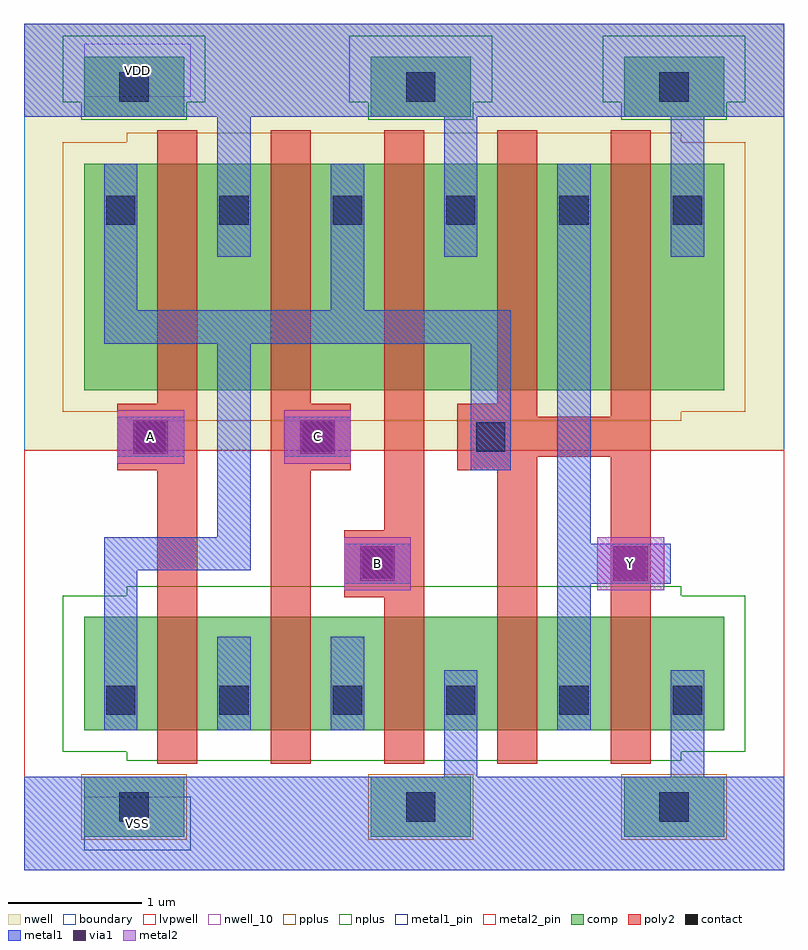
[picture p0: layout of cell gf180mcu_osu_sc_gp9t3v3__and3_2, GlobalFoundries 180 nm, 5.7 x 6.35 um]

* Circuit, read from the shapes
.subckt gf180mcu_osu_sc_gp9t3v3__and3_2 A B C VDD VSS Y
XM1 n1 A n2 VSS nfet_03v3 w=0.85u l=0.3u
XM2 n3 C n1 VSS nfet_03v3 w=0.85u l=0.3u
XM3 VSS B n3 VSS nfet_03v3 w=0.85u l=0.3u
XM4 Y n2 VSS VSS nfet_03v3 w=0.85u l=0.3u m=2
XM5 VDD A n2 VDD pfet_03v3 w=1.7u l=0.3u
XM6 n2 C VDD VDD pfet_03v3 w=1.7u l=0.3u
XM7 VDD B n2 VDD pfet_03v3 w=1.7u l=0.3u
XM8 Y n2 VDD VDD pfet_03v3 w=1.7u l=0.3u m=2
.ends

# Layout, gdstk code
import gdstk
lib = gdstk.Library(unit=1e-6, precision=1e-09)
def R(c, l, rs):  # rectangles x0, y0, x1, y1
    for r in rs: c.add(gdstk.rectangle(r[:2], r[2:], *l))
def A(c, l, x, y, w, h, nx, ny, dx, dy):  # array of equal rectangles
    R(c, l, [(x+i*dx, y+j*dy, x+i*dx+w, y+j*dy+h) for i in range(nx) for j in range(ny)])
boundary = (0, 0)
nwell = (21, 0)
nwell_10 = (21, 10)
comp = (22, 0)
poly2 = (30, 0)
pplus = (31, 0)
nplus = (32, 0)
contact = (33, 0)
metal1 = (34, 0)
metal1_pin = (34, 10)
via1 = (35, 0)
metal2 = (36, 0)
metal2_pin = (36, 10)
lvpwell = (204, 0)

gf180mcu_osu_sc_gp9t3v3_ = lib.new_cell('gf180mcu_osu_sc_gp9t3v3__and3_2')
R(gf180mcu_osu_sc_gp9t3v3_, boundary, [(0,0,5.7,6.35)])
R(gf180mcu_osu_sc_gp9t3v3_, nwell, [(0,3.15,5.7,6.35)])
R(gf180mcu_osu_sc_gp9t3v3_, nwell_10, [(0.45,5.8,1.25,6.2)])
R(gf180mcu_osu_sc_gp9t3v3_, comp, [(0.45,0.25,1.2,0.7), (2.6,0.25,3.35,0.7), (4.5,0.25,5.25,0.7), (0.45,1.05,5.25,1.9), (0.45,3.6,5.25,5.3), (0.45,5.65,1.2,6.1), (2.6,5.65,3.35,6.1), (4.5,5.65,5.25,6.1)])
R(gf180mcu_osu_sc_gp9t3v3_, poly2, [(1,0.8,1.3,3), (1.85,0.8,2.15,3), (2.7,0.8,3,2.05), (3.55,0.8,3.85,3), (4.4,0.8,4.7,3.1), (2.4,2.05,3,2.55), (2.7,2.55,3,5.55), (0.7,3,1.3,3.5), (1.85,3,2.45,3.5), (3.25,3,3.85,3.1), (3.25,3.1,4.7,3.4), (3.25,3.4,3.85,3.5), (4.4,3.4,4.7,5.55), (1,3.5,1.3,5.55), (1.85,3.5,2.15,5.55), (3.55,3.5,3.85,5.55)])
R(gf180mcu_osu_sc_gp9t3v3_, pplus, [(0.43,0.23,1.22,0.72), (2.58,0.23,3.37,0.72), (4.48,0.23,5.27,0.72), (0.77,3.37,4.93,3.44), (0.29,3.44,5.41,5.46), (0.77,5.46,4.93,5.53)])
R(gf180mcu_osu_sc_gp9t3v3_, nplus, [(0.77,0.82,4.93,0.89), (0.29,0.89,5.41,2.06), (0.77,2.06,4.93,2.13), (0.43,5.63,1.22,5.76), (2.58,5.63,3.37,5.76), (4.48,5.63,5.27,5.76), (0.29,5.76,1.36,6.26), (2.44,5.76,3.51,6.26), (4.34,5.76,5.41,6.26)])
A(gf180mcu_osu_sc_gp9t3v3_, contact, 0.615, 1.165, 0.22, 0.22, 6, 2, 0.85, 3.675)
R(gf180mcu_osu_sc_gp9t3v3_, contact, [(0.715,0.365,0.935,0.585), (2.865,0.365,3.085,0.585), (4.765,0.365,4.985,0.585), (2.54,2.19,2.76,2.41), (0.84,3.14,1.06,3.36), (2.09,3.14,2.31,3.36), (3.39,3.14,3.61,3.36), (0.715,5.765,0.935,5.985), (2.865,5.765,3.085,5.985), (4.765,5.765,4.985,5.985)])
A(gf180mcu_osu_sc_gp9t3v3_, metal1, 1.45, 4.6, 0.25, 1.05, 3, 1, 1.7, 0)
R(gf180mcu_osu_sc_gp9t3v3_, metal1, [(0,0,5.7,0.7), (3.15,0.7,3.4,1.5), (4.85,0.7,5.1,1.5), (0.6,1.05,0.85,2.25), (1.45,1.05,1.7,1.75), (2.3,1.05,2.55,1.75), (4,1.05,4.25,2.15), (2.4,2.15,2.9,2.45), (4,2.15,4.85,2.45), (0.6,2.25,1.7,2.5), (4,2.45,4.25,5.3), (1.45,2.5,1.7,3.95), (3.35,3,3.65,3.95), (0.7,3.1,1.2,3.4), (1.95,3.1,2.45,3.4), (0.6,3.95,3.65,4.2), (0.6,4.2,0.85,5.3), (2.3,4.2,2.55,5.3), (0,5.65,5.7,6.35)])
R(gf180mcu_osu_sc_gp9t3v3_, metal1_pin, [(0.45,0.15,1.25,0.55)])
R(gf180mcu_osu_sc_gp9t3v3_, via1, [(2.52,2.17,2.78,2.43), (4.42,2.17,4.68,2.43), (0.82,3.12,1.08,3.38), (2.07,3.12,2.33,3.38)])
R(gf180mcu_osu_sc_gp9t3v3_, metal2, [(2.4,2.1,2.9,2.5), (4.3,2.1,4.8,2.5), (0.7,3.05,1.2,3.45), (1.95,3.05,2.45,3.45)])
R(gf180mcu_osu_sc_gp9t3v3_, metal2_pin, [(2.4,2.1,2.9,2.5), (4.3,2.1,4.8,2.5), (0.7,3.05,1.2,3.45), (1.95,3.05,2.45,3.45)])
R(gf180mcu_osu_sc_gp9t3v3_, lvpwell, [(0,0,5.7,3.15)])
gf180mcu_osu_sc_gp9t3v3_.add(gdstk.Label('A', (0.95,3.25), layer=36, texttype=10))
gf180mcu_osu_sc_gp9t3v3_.add(gdstk.Label('B', (2.65,2.3), layer=36, texttype=10))
gf180mcu_osu_sc_gp9t3v3_.add(gdstk.Label('Y', (4.55,2.3), layer=36, texttype=10))
gf180mcu_osu_sc_gp9t3v3_.add(gdstk.Label('C', (2.2,3.25), layer=36, texttype=10))
gf180mcu_osu_sc_gp9t3v3_.add(gdstk.Label('VDD', (0.85,6), layer=21, texttype=10))
gf180mcu_osu_sc_gp9t3v3_.add(gdstk.Label('VSS', (0.85,0.35), layer=34, texttype=10))

lib.write_gds('gf180mcu_osu_sc_gp9t3v3__and3_2.gds')
